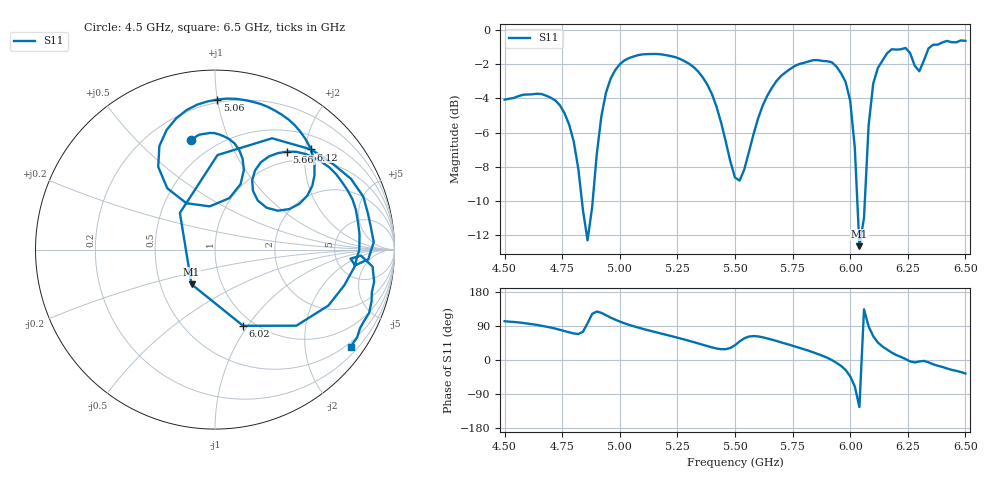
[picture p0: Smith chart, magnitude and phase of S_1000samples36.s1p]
! TOUCHSTONE file generated by CST MICROWAVE STUDIO
! Date and time: Wed Oct 26 18:39:29 2022
! Project name: L.cst
! Parameters = {Di=1.27; Epsilon_r=1.56; InnerDiameter=1.27; Length=2; Lf=10; Lg=60; OuterConductorThickness=0.2921; OuterDiameter=3.6; Wf=3; Wp=41.2; de=1.5; df=6.8; g=0.8; gx=0.447076; gy=3.78761; h=2.34; hf=1.524; px=12.3402; py=13.036; w=9.7; wx=11.8932; wy=9.24842}
! Header version: 2018
! Port assignment regex: !\s*Touchstone port\s*([0-9]+)\s*=\s*(CST MWS port|CST DS port)\s*([0-9]+|Zmin|Zmax)\s*\(\"(.*)\"\)(\s*mode\s*([0-9]+))?.*
! Touchstone port assignment:
! Touchstone port 1 = CST MWS port 1 ("")
# GHz S DB R 50
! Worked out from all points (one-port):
!   101 points, 4.5 GHz to 6.5 GHz, reference 50 ohm
!   lowest |S11| = -12.6 dB at 6.04 GHz (marker M1), VSWR 1.61, Z = 35.9 - j14.7 ohm
!   |S11| at or under -10 dB: 4.836 GHz to 4.882 GHz (46.72 MHz wide, 0.961 % of centre); 6.031 GHz to 6.064 GHz (32.77 MHz wide, 0.542 % of centre)
!   S11 on the Smith chart (normalised r, x): 4.5 GHz: 0.37, +0.74; 5.06 GHz: 0.18, +1.00; 5.66 GHz: 0.82, +1.66; 6.02 GHz: 0.89, -0.95; 6.12 GHz: 0.76, +2.12; 6.5 GHz: 0.39, -3.07
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4.5  -4.08 102.3
4.66  -3.75 90.4
4.76  -4.87 76.3
4.82  -8.13 68.7
4.86  -12.30 97.0
4.92  -5.05 124.4
5  -2.01 101.5
5.06  -1.55 89.1
5.26  -1.69 57.3
5.4  -3.76 33.3
5.5  -8.63 39.0
5.56  -7.16 61.8
5.66  -3.39 53.7
5.76  -2.11 35.8
5.92  -1.90 -0.1
5.96  -2.53 -15.4
6  -4.14 -43.1
6.02  -6.89 -69.7
6.04  -12.64 -124.1
6.06  -10.97 133.8
6.08  -5.57 88.5
6.1  -3.14 62.8
6.12  -2.23 46.2
6.18  -1.13 19.6
6.26  -1.35 -3.6
6.32  -1.79 -2.4
6.36  -0.87 -11.4
6.5  -0.64 -35.6
